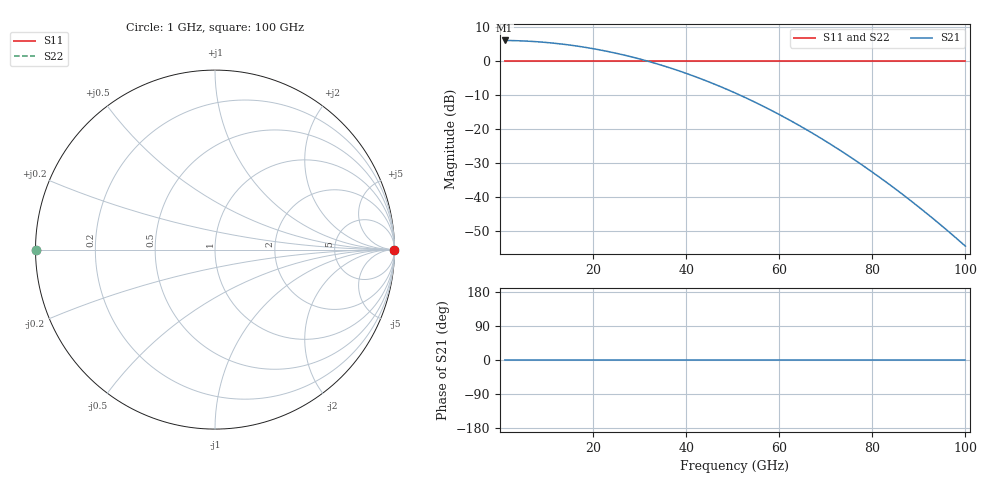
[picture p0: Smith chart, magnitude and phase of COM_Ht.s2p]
! File created by SignalIntegrity v1.4.2: Signal and Power Integrity Tools
! https://github.com/Nubis-Communications/SignalIntegrity
# MHz S MA R 48.0
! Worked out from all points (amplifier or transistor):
!   100 points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, 1 GHz to 100 GHz, reference 48 ohm
!   highest |S21| = 6.0 dB at 1 GHz (marker M1)
!   |S21| within 3 dB of that: start of sweep to 22.28 GHz
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1000  1 0.0  1.999 0.0  0 0.0  1 180.0
3000  1 0.0  1.987 0.0  0 0.0  1 180.0
5000  1 0.0  1.965 0.0  0 0.0  1 180.0
9000  1 0.0  1.89 0.0  0 0.0  1 180.0
13000  1 0.0  1.778 0.0  0 0.0  1 180.0
18000  1 0.0  1.596 0.0  0 0.0  1 180.0
21000  1 0.0  1.471 0.0  0 0.0  1 180.0
26000  1 0.0  1.249 0.0  0 0.0  1 180.0
34000  1 0.0  0.8938 0.0  0 0.0  1 180.0
39000  1 0.0  0.6931 0.0  0 0.0  1 180.0
43000  1 0.0  0.5515 0.0  0 0.0  1 180.0
47000  1 0.0  0.4292 0.0  0 0.0  1 180.0
51000  1 0.0  0.3266 0.0  0 0.0  1 180.0
55000  1 0.0  0.2431 0.0  0 0.0  1 180.0
59000  1 0.0  0.1769 0.0  0 0.0  1 180.0
63000  1 0.0  0.1259 0.0  0 0.0  1 180.0
67000  1 0.0  0.08765 0.0  0 0.0  1 180.0
75000  1 0.0  0.03972 0.0  0 0.0  1 180.0
80000  1 0.0  0.02315 0.0  0 0.0  1 180.0
84000  1 0.0  0.01466 0.0  0 0.0  1 180.0
92000  1 0.0  0.005495 0.0  0 0.0  1 180.0
100000  1 0.0  0.001885 0.0  0 0.0  1 180.0
